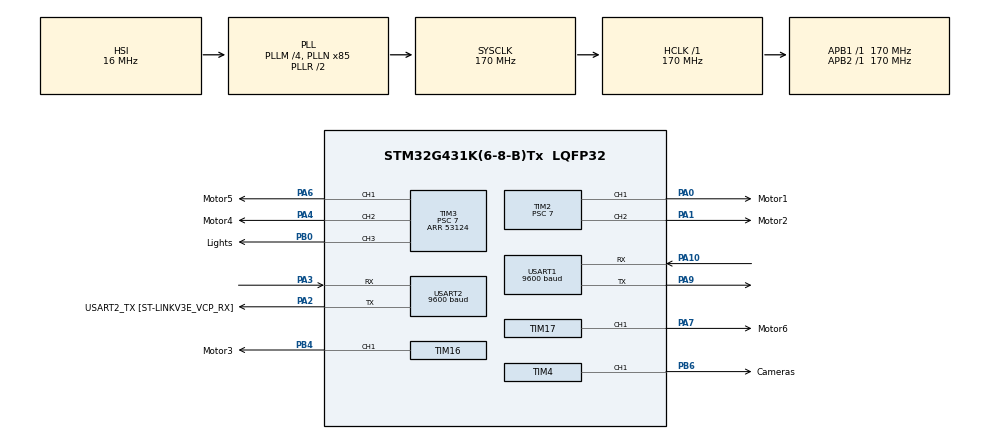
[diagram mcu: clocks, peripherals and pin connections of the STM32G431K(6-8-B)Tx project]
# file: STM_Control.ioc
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Mcu.Family=STM32G4
Mcu.Name=STM32G431K(6-8-B)Tx
Mcu.Package=LQFP32
NVIC.PriorityGroup=NVIC_PRIORITYGROUP_4
NVIC.USART1_IRQn=true\:0\:0\:false\:false\:true\:true\:true\:true
NVIC.USART2_IRQn=true\:0\:0\:false\:false\:true\:true\:true\:true
PA0.GPIO_Label=Motor1
PA0.Signal=S_TIM2_CH1
PA1.GPIO_Label=Motor2
PA1.Signal=S_TIM2_CH2
PA10.Mode=Asynchronous
PA10.Signal=USART1_RX
PA13.GPIO_Label=T_SWDIO
PA13.Mode=Serial_Wire
PA13.Signal=SYS_JTMS-SWDIO
PA14.GPIO_Label=T_SWCLK
PA14.Mode=Serial_Wire
PA14.Signal=SYS_JTCK-SWCLK
PA2.GPIO_Label=USART2_TX [ST-LINKV3E_VCP_RX]
PA2.Mode=Asynchronous
PA2.Signal=USART2_TX
PA3.Mode=Asynchronous
PA3.Signal=USART2_RX
PA4.GPIO_Label=Motor4
PA4.Signal=S_TIM3_CH2
PA6.GPIO_Label=Motor5
PA6.Signal=S_TIM3_CH1
PA7.GPIO_Label=Motor6
PA7.Signal=S_TIM17_CH1
PA9.Mode=Asynchronous
PA9.Signal=USART1_TX
PB0.GPIO_Label=Lights
PB0.Signal=S_TIM3_CH3
PB4.GPIO_Label=Motor3
PB4.Signal=S_TIM16_CH1
PB6.GPIO_Label=Cameras
PB6.Signal=S_TIM4_CH1
ProjectManager.HeapSize=0x200
ProjectManager.StackSize=0x400
ProjectManager.TargetToolchain=STM32CubeIDE
RCC.ADC12Freq_Value=170000000
RCC.AHBFreq_Value=170000000
RCC.APB1Freq_Value=170000000
RCC.APB1TimFreq_Value=170000000
RCC.APB2Freq_Value=170000000
RCC.APB2TimFreq_Value=170000000
RCC.CortexFreq_Value=170000000
RCC.EXTERNAL_CLOCK_VALUE=12288000
RCC.HCLKFreq_Value=170000000
RCC.HSE_VALUE=8000000
RCC.HSI48_VALUE=48000000
RCC.HSI_VALUE=16000000
RCC.LSE_VALUE=32768
RCC.PLLM=RCC_PLLM_DIV4
RCC.PLLN=85
RCC.SYSCLKFreq_VALUE=170000000
RCC.SYSCLKSource=RCC_SYSCLKSOURCE_PLLCLK
RCC.USBFreq_Value=170000000
RCC.VCOOutputFreq_Value=340000000
SH.S_TIM16_CH1.0=TIM16_CH1,PWM Generation1 CH1
SH.S_TIM17_CH1.0=TIM17_CH1,PWM Generation1 CH1
SH.S_TIM2_CH1.0=TIM2_CH1,PWM Generation1 CH1
SH.S_TIM2_CH2.0=TIM2_CH2,PWM Generation2 CH2
SH.S_TIM3_CH1.0=TIM3_CH1,PWM Generation1 CH1
SH.S_TIM3_CH2.0=TIM3_CH2,PWM Generation2 CH2
SH.S_TIM3_CH3.0=TIM3_CH3,PWM Generation3 CH3
SH.S_TIM4_CH1.0=TIM4_CH1,PWM Generation1 CH1
TIM16.AutoReloadPreload=TIM_AUTORELOAD_PRELOAD_ENABLE
TIM16.Channel=TIM_CHANNEL_1
TIM16.PeriodNoDither=53124
TIM16.Prescaler=7
TIM17.AutoReloadPreload=TIM_AUTORELOAD_PRELOAD_ENABLE
TIM17.Channel=TIM_CHANNEL_1
TIM17.PeriodNoDither=53124
TIM17.Prescaler=7
TIM2.AutoReloadPreload=TIM_AUTORELOAD_PRELOAD_ENABLE
TIM2.Channel-PWM\ Generation1\ CH1=TIM_CHANNEL_1
TIM2.Channel-PWM\ Generation2\ CH2=TIM_CHANNEL_2
TIM2.PeriodNoDither=800000
TIM2.Prescaler=7
TIM3.AutoReloadPreload=TIM_AUTORELOAD_PRELOAD_ENABLE
TIM3.Channel-PWM\ Generation1\ CH1=TIM_CHANNEL_1
TIM3.Channel-PWM\ Generation2\ CH2=TIM_CHANNEL_2
TIM3.Channel-PWM\ Generation3\ CH3=TIM_CHANNEL_3
TIM3.PeriodNoDither=53124
TIM3.Prescaler=7
TIM4.AutoReloadPreload=TIM_AUTORELOAD_PRELOAD_ENABLE
TIM4.Channel-PWM\ Generation1\ CH1=TIM_CHANNEL_1
TIM4.PeriodNoDither=56667
TIM4.Prescaler=4999
TIM6.AutoReloadPreload=TIM_AUTORELOAD_PRELOAD_DISABLE
TIM6.Prescaler=7782
TIM7.Prescaler=200
USART1.BaudRate=9600
USART1.VirtualMode-Asynchronous=VM_ASYNC
USART2.BaudRate=9600
USART2.VirtualMode-Asynchronous=VM_ASYNC
VP_SYS_VS_DBSignals.Mode=DisableDeadBatterySignals
VP_TIM16_VS_ClockSourceINT.Mode=Enable_Timer
VP_TIM17_VS_ClockSourceINT.Mode=Enable_Timer
VP_TIM2_VS_ClockSourceINT.Mode=Internal
VP_TIM3_VS_ClockSourceINT.Mode=Internal
VP_TIM4_VS_ClockSourceINT.Mode=Internal
VP_TIM6_VS_ClockSourceINT.Mode=Enable_Timer
VP_TIM7_VS_ClockSourceINT.Mode=Enable_Timer
board=NUCLEO-G431KB

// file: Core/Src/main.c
/* USER CODE BEGIN Header */
/*
 * Author: Albert Carrasco
 * Last review: 19/3/2024
 *
 * DESCRIPTION:
 * Code for STM32G431KB
 *
 */
/**
  ******************************************************************************
  * @file           : main.c
  * @brief          : Main program body
  ******************************************************************************
  * @attention
  *
  * Copyright (c) 2024 STMicroelectronics.
  * All rights reserved.
  *
  * This software is licensed under terms that can be found in the LICENSE file
  * in the root directory of this software component.
  * If no LICENSE file comes with this software, it is provided AS-IS.
  *
  ******************************************************************************
  */
/* USER CODE END Header */
#include "main.h"

/* USER CODE BEGIN Includes */
#include <string.h>
#include <stdio.h>
#include "uart_utils.h"
/* USER CODE END Includes */

TIM_HandleTypeDef htim2;
TIM_HandleTypeDef htim3;
TIM_HandleTypeDef htim4;
TIM_HandleTypeDef htim6;
TIM_HandleTypeDef htim7;
TIM_HandleTypeDef htim16;
TIM_HandleTypeDef htim17;

UART_HandleTypeDef huart1;
UART_HandleTypeDef huart2;

void SystemClock_Config(void);
static void MX_GPIO_Init(void);
static void MX_TIM2_Init(void);
static void MX_TIM3_Init(void);
static void MX_TIM17_Init(void);
static void MX_TIM4_Init(void);
static void MX_USART2_UART_Init(void);
static void MX_TIM6_Init(void);
static void MX_TIM16_Init(void);
static void MX_TIM7_Init(void);
static void MX_USART1_UART_Init(void);

/* USER CODE BEGIN 0 */

// Global variables for UART reception
uint8_t rx_buffer[256]; // Buffer to store incoming data (adjust size as needed)
uint16_t rx_index = 0;  // Current index in the buffer
uint8_t rx_data;        // Single byte for interrupt reception
volatile uint8_t rx_complete = 0; // Flag to indicate complete message

uint8_t state=0;				//State of the state machine

uint8_t i;
uint16_t currentPoint[6] = {31874,31874,31874,31874,31874,31874};		//current value of CCR for the thrusters
uint16_t currentLightPoint = 31874; //current value of CCR for the lights
uint8_t message[34];			//message received by USART. Longitud max==28
uint16_t value[7];
uint16_t setPoint[6];			//CCR value we want to achieve for the motors
uint16_t setLightPoint;			//CCR value we want to achieve for the lights

int16_t slope[6];				//step between each value for the motors
int16_t lightslope;

// Camera PWM calculation parameters
uint16_t camera_ccr;

int16_t maxSlope = 1050;		//max step between each value of CCR
int16_t minSlope = -1050;		//min step between each value of CCR

int16_t error;					//Sum of slopes of motors
int16_t errorlights;			//Sum of slopes of lights

//Lookup table of CCR values:
uint16_t CCRtable[] =
		{23374,23545,23603,23655,23702,23753,23803,23841,23878,23927,23977,24017,24057,24104,24154,24212,
		24269,24323,24366,24407,24444,24482,24525,24570,24635,24676,24711,24776,24841,24874,24907,24959,
		25009,25056,25096,25130,25170,25235,25299,25357,25409,25450,25490,25593,25624,25654,25691,25734,
		25801,25862,25902,25940,25977,26021,26103,26161,26200,26231,26261,26357,26390,26422,26462,26505,
		26554,26606,26671,26723,26771,26814,26857,26968,27020,27077,27137,27202,27260,27327,27391,27443,
		27500,27556,27608,27660,27713,27798,27856,27918,27982,28047,28112,28183,28258,28328,28394,28468,
		28534,28594,28652,28710,28786,28858,28938,29025,29104,29182,29247,29312,29384,29466,29553,29624,
		29698,29784,29878,29964,30038,30116,30209,30304,30399,30503,30624,30728,30847,30987,31120,31874,
		32621,32758,32917,33050,33148,33273,33367,33465,33554,33637,33728,33822,33906,33989,34082,34149,
		34215,34308,34390,34464,34542,34609,34660,34762,34836,34927,34996,35080,35145,35204,35277,35337,
		35391,35442,35533,35600,35666,35736,35809,35879,35934,35993,36056,36128,36183,36244,36307,36358,
		36414,36473,36528,36601,36664,36715,36770,36832,36898,36934,36971,37060,37134,37174,37209,37284,
		37346,37388,37424,37459,37495,37534,37574,37625,37672,37713,37788,37846,37876,37906,38002,38032,
		38062,38103,38158,38210,38262,38317,38359,38396,38438,38489,38551,38603,38636,38669,38744,38801,
		38850,38892,38933,38974,39016,39067,39117,39164,39205,39242,39281,39325,39366,39401,39435,39485,
		39539,39605,39644,39680,39736,39797,39847,39886,39919,39953,39992,40031,40102,40146,40181,40374};

int32_t CamCCRtable[] =
		{28333, 17000, 8500, 5667, 4250, 3400, 2833, 2429, 2125, 1889, 1700, 1545, 1417, 1308, 1214, 1133,
		1062, 1000, 944, 895, 850, 810, 773, 739, 708, 680, 654, 630, 607, 586, 567};

int32_t CamARRtable[] =
		{56666, 33999, 16999, 11333, 8499, 6799, 5666, 4857, 4249, 3777, 3399, 3090, 2833, 2615, 2428, 2266,
		2124, 1999, 1888, 1789, 1699, 1619, 1545, 1478, 1416, 1359, 1307, 1259, 1214, 1172, 1133};

uint16_t check;		//Calculated value of checksum

uint8_t length;				//length of the message read

//UART_HandleTypeDef huart1; // UART1 handler

// Initialize UART interrupt reception
void startUartReceive(UART_HandleTypeDef *huart) {
    // Start UART reception in interrupt mode for 1 byte
    HAL_UART_Receive_IT(huart, &rx_data, 1);
}
// Non-blocking function to read UART data
uint16_t readLine(UART_HandleTypeDef *huart, uint8_t *data, uint16_t max_len) {
    uint16_t count = 0;

    // Check if a complete message is ready
    if (rx_complete) {
        // Copy data from rx_buffer to user-provided data buffer
        for (count = 0; count < rx_index && count < max_len; count++) {
            data[count] = rx_buffer[count];
        }

        // Reset buffer and flags
        rx_index = 0;
        rx_complete = 0;

        // Restart UART reception
        HAL_UART_Receive_IT(huart, &rx_data, 1);
    }

    return count;
}

//uint16_t readLine(UART_HandleTypeDef *huart, uint8_t *data, uint16_t max_len, uint16_t timeout) {
//	uint16_t count = 0;
//	while (HAL_UART_Receive(huart, &data[count], 1, timeout) == HAL_OK && count < max_len) {
//		count++;
//		if (data[count+1] == 'e' && data[count+2]== 'e')
//			break;
//	}
//	return count;
//}

uint8_t light;
uint8_t camera;
uint16_t checksum;	//Value if checksum received in cameras' message

const uint8_t timeout = 2; //Timeout if PC crashes
//Timing for lights & cameras:
const float t1 = 0.5;
const float t2 = 1;
const float t3 = 1.5;

/* USER CODE END 0 */

int main(void)
{

  /* MCU Configuration--------------------------------------------------------*/

  /* Reset of all peripherals, Initializes the Flash interface and the Systick. */
  HAL_Init();

  /* Configure the system clock */
  SystemClock_Config();

  /* Initialize all configured peripherals */
  MX_GPIO_Init();
  MX_TIM2_Init();
  MX_TIM3_Init();
  MX_TIM17_Init();
  MX_TIM4_Init();
  MX_USART2_UART_Init();
  MX_TIM6_Init();
  MX_TIM16_Init();
  MX_TIM7_Init();
  MX_USART1_UART_Init();
  /* USER CODE BEGIN 2 */
  startUartReceive(&huart1);	// Initialising the uart receive interrupt callback
  //START PWM OUTPUTS:
  HAL_TIM_PWM_Start(&htim2, TIM_CHANNEL_1);		//Motor 1
  HAL_TIM_PWM_Start(&htim2, TIM_CHANNEL_2);		//Motor 2
  HAL_TIM_PWM_Start(&htim16, TIM_CHANNEL_1);		//Motor 3
  HAL_TIM_PWM_Start(&htim3, TIM_CHANNEL_2);		//Motor 4
  HAL_TIM_PWM_Start(&htim3, TIM_CHANNEL_1);  		//Motor 5
  HAL_TIM_PWM_Start(&htim17, TIM_CHANNEL_1);		//Motor 6

  HAL_TIM_PWM_Start(&htim3, TIM_CHANNEL_3);		//Lights
  HAL_TIM_PWM_Start(&htim4, TIM_CHANNEL_1);		//Camera

  //Send a PWM with Duty Cycle 1500 microseconds to start the T200 for at least 7 seconds:
  TIM2->CCR1 = 31874;	//Motor 1
  TIM2->CCR2 = 31874;	//Motor 2
  TIM16->CCR1 = 31874;	//Motor 3
  TIM3->CCR2 = 31874;	//Motor 4
  TIM3->CCR1 = 31874;  	//Motor 5
  TIM17->CCR1 = 31874;	//Motor 6
  HAL_Delay(7000);

  //Turn off lights:
  TIM3->CCR3 = 23374; 	//Lights initial pwm
  // Disable PWM output initially for the Camera
  TIM4->CCER &= ~TIM_CCER_CC1E;

  HAL_TIM_Base_Start(&htim6);	//Timer timeout start

  /* USER CODE END 2 */

  /* Infinite loop */
  while (1)
  {

    /* USER CODE BEGIN 3 */
	switch(state) {
		case 0:
			memset(message,0,34);		//Clean the array before writing on it
			//Receive message: check Id and length
			length=readLine(&huart1, message, sizeof(message));

			//Cameras & lights:
			if(length==16 && message[0]=='c' && message[1]=='c') {
				HAL_TIM_Base_Stop(&htim6);
				TIM6->CNT = 0;	//Reset timer

				camera = (message[3]-'0')*10 + (message[4]-'0');		//value for cameras
				light = (message[6]-'0')*100 + (message[7]-'0')*10 + (message[8]-'0');	//Value for lights
				checksum = (message[10]-'0')*100 + (message[11]-'0')*10 + (message[12]-'0');	//Checksum received
				state=1;
			}

			else if(length==34 && message[0]=='a' && message[1]=='a') {
				HAL_TIM_Base_Stop(&htim6);
				TIM6->CNT = 0;	//Reset timer

				value[0] = (message[3]-'0')*100 + (message[4]-'0')*10 + (message[5]-'0');			//Value for motor 1
				value[1] = (message[7]-'0')*100 + (message[8]-'0')*10 + (message[9]-'0');			//Value for motor 2
				value[2] = (message[11]-'0')*100 + (message[12]-'0')*10 + (message[13]-'0');		//Value for motor 3
				value[3] = (message[15]-'0')*100 + (message[16]-'0')*10 + (message[17]-'0');		//Value for motor 4
				value[4] = (message[19]-'0')*100 + (message[20]-'0')*10 + (message[21]-'0');		//Value for motor 5
				value[5] = (message[23]-'0')*100 + (message[24]-'0')*10 + (message[25]-'0');		//Value for motor 6
				value[6] = (message[27]-'0')*1000 + (message[28]-'0')*100 + (message[29]-'0')*10 + (message[30]-'0');		//Checksum received
				state=1;
	  		  }

	  		  else {
	  			  //Security protocol, if PC crashes stops thrusters (2 seconds of no data received):
	  			  if(__HAL_TIM_GET_COUNTER(&htim6) >= timeout*32768) {
	  				  TIM2->CCR1 = 31874;	//Motor 1
	  				  TIM2->CCR2 = 31874;	//Motor 2
	  				  TIM16->CCR1 = 31874;	//Motor 3
	  				  TIM3->CCR2 = 31874;	//Motor 4
	  				  TIM3->CCR1 = 31874;  	//Motor 5
	  				  TIM17->CCR1 = 31874;	//Motor 6

	  				  //Update value in CurrentPoint variable:
	  				  for(i=0;i<=5;i++) {
	  					  currentPoint[i]=31874;
	  				  }

	  				  HAL_TIM_Base_Stop(&htim6);
	  				  TIM6->CNT = 0;	//Reset timer
	  			  }
	  			  state=0;
	  		  }
		  break;

		  case 1:
			  //Check if values received are inside range:

			  if(message[0]=='a' && message[1]=='a') {
				  for(i=0;i<=5;i++) {
					  if(value[i]>255 || value[i]<0) {
	  				  	  state=0;
	  				  	  break;
	  				  }
	  				  else {
	  					  state=2;
	  				  }
				  }
			  }

			  else if(message[0]=='c' && message[1]=='c') {
				  for(i=0;i<=1;i++) {
					  if(light>255 || light<0) {
						  state=0;
						  break;
					  }
	  				  if (camera>30 || camera<0) {
	  					  state=0;
	  					  break;
	  				  }
	  				  else {
	  					  state=2;
	  				  }
				  }
			  }

		  break;

		  case 2:
			  //Check if checksum is inside range and calculate checksum to compare:

			  if(message[0]=='a' && message[1]=='a') {
				  if(value[6]>=0 && value[6]<=1530) {
					  check = value[0] + value[1] + value[2] + value[3] + value[4] + value[5];
					  if (check==value[6]) {
						  state = 3;
					  }
					  else {
						  state=0;
					  }
				  }
				  else {
					  state=0;
				  }
			  }

			  else if(message[0]=='c' && message[1]=='c') {
				  if(checksum>=0 && checksum<=285) {
					  check = light + camera;
					  if (check==checksum) {
						  state = 3;
						  HAL_TIM_Base_Start(&htim7);	//Start timer for lights & cameras timing [VERIFY IF THIS IS NECESSARY]
					  }
					  else {
						  state=0;
					  }
				  }
				  else {
					  state=0;
				  }
			  }
		  break;

		  case 3:
			  //Process to send PWM values

			  if(message[0]=='a' && message[1]=='a') {
				  //setPoint equals to the value in the LUT from position 0 to 255:
				  setPoint[0] = CCRtable[value[0]];
				  setPoint[1] = CCRtable[value[1]];
				  setPoint[2] = CCRtable[value[2]];
				  setPoint[3] = CCRtable[value[3]];
				  setPoint[4] = CCRtable[value[4]];
				  setPoint[5] = CCRtable[value[5]];

				  for(i=0;i<=5;i++) {
					  slope[i]=setPoint[i]-currentPoint[i];

					  //Limit the values of slope:
					  if(slope[i]>maxSlope) {
						  slope[i]=maxSlope;
					  }

					  else if (slope[i]<minSlope) {
						  slope[i]=minSlope;
					  }

					  //Values to send:
					  currentPoint[i]+=slope[i];
				  }

				  //Send values:
				  TIM2->CCR1 = currentPoint[0];		//Motor 1
				  TIM2->CCR2 = currentPoint[1];		//Motor 2
				  TIM16->CCR1 = currentPoint[2];	//Motor 3
				  TIM3->CCR2 = currentPoint[3];		//Motor 4
				  TIM3->CCR1 = currentPoint[4];  	//Motor 5
				  TIM17->CCR1 = currentPoint[5];	//Motor 6

//				  HAL_Delay(200);
				  error=0;	//Reset error

				  for(i=0;i<=5;i++) {
					  error=error+slope[i];
				  }
				  //When all setPoints are achieved return to initial state:
				  if(error==0) {
					  HAL_TIM_Base_Start(&htim6);
					  state=0;
				  }
				  else {
					  state=3;
				  }
			  }

			  if(message[0]=='c' && message[1]=='c') {
//				  if(message[0]=='c' && message[1]=='c') {
					  //setPoint equals to the value in the LUT from position 0 to 255:
					  setLightPoint = CCRtable[light];
					  lightslope = setLightPoint - currentLightPoint;
					  //Limit the values of the slope
					  if(lightslope>maxSlope) {
						  lightslope=maxSlope;
					  }
					  else if (slope[i]<minSlope) {
						  lightslope=minSlope;
					  }
					  //Values to send:
					  currentLightPoint = currentLightPoint + lightslope;

					  // Send light values
					  TIM3->CCR3 = currentLightPoint;
					  if(camera != 0) {
						  //Enable camera PWM channel and send the pwm value
						  TIM4->CCER |= TIM_CCER_CC1E;
						  TIM4->CCR1 = CamCCRtable[camera]; // Camera CCR value to send
						  TIM4->ARR = CamARRtable[camera]; // Camera CCR value to send
					  }
					  else {
						  // Disable the pwm so the camera doesn't take any pictures
						  TIM4->CCER &= ~TIM_CCER_CC1E;
					  }

//					  HAL_Delay(200);
					  error=0;	//Reset error

//					  error = error + lightslope;
					  //When all setPoints are achieved return to initial state:
					  if(error==0) {
						  HAL_TIM_Base_Start(&htim6);
						  state=0;
					  		}
					  else {
						  state=3;
					  }
			  }

		  break;
	}
  }
  /* USER CODE END 3 */
}

void SystemClock_Config(void)
{
  RCC_OscInitTypeDef RCC_OscInitStruct = {0};
  RCC_ClkInitTypeDef RCC_ClkInitStruct = {0};

  /** Configure the main internal regulator output voltage
  */
  HAL_PWREx_ControlVoltageScaling(PWR_REGULATOR_VOLTAGE_SCALE1_BOOST);

  /** Initializes the RCC Oscillators according to the specified parameters
  * in the RCC_OscInitTypeDef structure.
  */
  RCC_OscInitStruct.OscillatorType = RCC_OSCILLATORTYPE_HSI;
  RCC_OscInitStruct.HSIState = RCC_HSI_ON;
  RCC_OscInitStruct.HSICalibrationValue = RCC_HSICALIBRATION_DEFAULT;
  RCC_OscInitStruct.PLL.PLLState = RCC_PLL_ON;
  RCC_OscInitStruct.PLL.PLLSource = RCC_PLLSOURCE_HSI;
  RCC_OscInitStruct.PLL.PLLM = RCC_PLLM_DIV4;
  RCC_OscInitStruct.PLL.PLLN = 85;
  RCC_OscInitStruct.PLL.PLLP = RCC_PLLP_DIV2;
  RCC_OscInitStruct.PLL.PLLQ = RCC_PLLQ_DIV2;
  RCC_OscInitStruct.PLL.PLLR = RCC_PLLR_DIV2;
  if (HAL_RCC_OscConfig(&RCC_OscInitStruct) != HAL_OK)
  {
    Error_Handler();
  }

  /** Initializes the CPU, AHB and APB buses clocks
  */
  RCC_ClkInitStruct.ClockType = RCC_CLOCKTYPE_HCLK|RCC_CLOCKTYPE_SYSCLK
                              |RCC_CLOCKTYPE_PCLK1|RCC_CLOCKTYPE_PCLK2;
  RCC_ClkInitStruct.SYSCLKSource = RCC_SYSCLKSOURCE_PLLCLK;
  RCC_ClkInitStruct.AHBCLKDivider = RCC_SYSCLK_DIV1;
  RCC_ClkInitStruct.APB1CLKDivider = RCC_HCLK_DIV1;
  RCC_ClkInitStruct.APB2CLKDivider = RCC_HCLK_DIV1;

  if (HAL_RCC_ClockConfig(&RCC_ClkInitStruct, FLASH_LATENCY_4) != HAL_OK)
  {
    Error_Handler();
  }
}

static void MX_TIM2_Init(void)
{

  TIM_ClockConfigTypeDef sClockSourceConfig = {0};
  TIM_MasterConfigTypeDef sMasterConfig = {0};
  TIM_OC_InitTypeDef sConfigOC = {0};

  htim2.Instance = TIM2;
  htim2.Init.Prescaler = 7;
  htim2.Init.CounterMode = TIM_COUNTERMODE_UP;
  htim2.Init.Period = 800000;
  htim2.Init.ClockDivision = TIM_CLOCKDIVISION_DIV1;
  htim2.Init.AutoReloadPreload = TIM_AUTORELOAD_PRELOAD_ENABLE;
  if (HAL_TIM_Base_Init(&htim2) != HAL_OK)
  {
    Error_Handler();
  }
  sClockSourceConfig.ClockSource = TIM_CLOCKSOURCE_INTERNAL;
  if (HAL_TIM_ConfigClockSource(&htim2, &sClockSourceConfig) != HAL_OK)
  {
    Error_Handler();
  }
  if (HAL_TIM_PWM_Init(&htim2) != HAL_OK)
  {
    Error_Handler();
  }
  sMasterConfig.MasterOutputTrigger = TIM_TRGO_RESET;
  sMasterConfig.MasterSlaveMode = TIM_MASTERSLAVEMODE_DISABLE;
  if (HAL_TIMEx_MasterConfigSynchronization(&htim2, &sMasterConfig) != HAL_OK)
  {
    Error_Handler();
  }
  sConfigOC.OCMode = TIM_OCMODE_PWM1;
  sConfigOC.Pulse = 0;
  sConfigOC.OCPolarity = TIM_OCPOLARITY_HIGH;
  sConfigOC.OCFastMode = TIM_OCFAST_DISABLE;
  if (HAL_TIM_PWM_ConfigChannel(&htim2, &sConfigOC, TIM_CHANNEL_1) != HAL_OK)
  {
    Error_Handler();
  }
  if (HAL_TIM_PWM_ConfigChannel(&htim2, &sConfigOC, TIM_CHANNEL_2) != HAL_OK)
  {
    Error_Handler();
  }
  HAL_TIM_MspPostInit(&htim2);

}

static void MX_TIM3_Init(void)
{

  TIM_ClockConfigTypeDef sClockSourceConfig = {0};
  TIM_MasterConfigTypeDef sMasterConfig = {0};
  TIM_OC_InitTypeDef sConfigOC = {0};

  htim3.Instance = TIM3;
  htim3.Init.Prescaler = 7;
  htim3.Init.CounterMode = TIM_COUNTERMODE_UP;
  htim3.Init.Period = 53124;
  htim3.Init.ClockDivision = TIM_CLOCKDIVISION_DIV1;
  htim3.Init.AutoReloadPreload = TIM_AUTORELOAD_PRELOAD_ENABLE;
  if (HAL_TIM_Base_Init(&htim3) != HAL_OK)
  {
    Error_Handler();
  }
  sClockSourceConfig.ClockSource = TIM_CLOCKSOURCE_INTERNAL;
  if (HAL_TIM_ConfigClockSource(&htim3, &sClockSourceConfig) != HAL_OK)
  {
    Error_Handler();
  }
  if (HAL_TIM_PWM_Init(&htim3) != HAL_OK)
  {
    Error_Handler();
  }
  sMasterConfig.MasterOutputTrigger = TIM_TRGO_RESET;
  sMasterConfig.MasterSlaveMode = TIM_MASTERSLAVEMODE_DISABLE;
  if (HAL_TIMEx_MasterConfigSynchronization(&htim3, &sMasterConfig) != HAL_OK)
  {
    Error_Handler();
  }
  sConfigOC.OCMode = TIM_OCMODE_PWM1;
  sConfigOC.Pulse = 0;
  sConfigOC.OCPolarity = TIM_OCPOLARITY_HIGH;
  sConfigOC.OCFastMode = TIM_OCFAST_DISABLE;
  if (HAL_TIM_PWM_ConfigChannel(&htim3, &sConfigOC, TIM_CHANNEL_1) != HAL_OK)
  {
    Error_Handler();
  }
  if (HAL_TIM_PWM_ConfigChannel(&htim3, &sConfigOC, TIM_CHANNEL_2) != HAL_OK)
  {
    Error_Handler();
  }
  if (HAL_TIM_PWM_ConfigChannel(&htim3, &sConfigOC, TIM_CHANNEL_3) != HAL_OK)
  {
    Error_Handler();
  }
  HAL_TIM_MspPostInit(&htim3);

}

static void MX_TIM4_Init(void)
{

  TIM_ClockConfigTypeDef sClockSourceConfig = {0};
  TIM_MasterConfigTypeDef sMasterConfig = {0};
  TIM_OC_InitTypeDef sConfigOC = {0};

  htim4.Instance = TIM4;
  htim4.Init.Prescaler = 4999;
  htim4.Init.CounterMode = TIM_COUNTERMODE_UP;
  htim4.Init.Period = 56667;
  htim4.Init.ClockDivision = TIM_CLOCKDIVISION_DIV1;
  htim4.Init.AutoReloadPreload = TIM_AUTORELOAD_PRELOAD_ENABLE;
  if (HAL_TIM_Base_Init(&htim4) != HAL_OK)
  {
    Error_Handler();
  }
  sClockSourceConfig.ClockSource = TIM_CLOCKSOURCE_INTERNAL;
  if (HAL_TIM_ConfigClockSource(&htim4, &sClockSourceConfig) != HAL_OK)
  {
    Error_Handler();
  }
  if (HAL_TIM_PWM_Init(&htim4) != HAL_OK)
  {
    Error_Handler();
  }
  sMasterConfig.MasterOutputTrigger = TIM_TRGO_RESET;
  sMasterConfig.MasterSlaveMode = TIM_MASTERSLAVEMODE_DISABLE;
  if (HAL_TIMEx_MasterConfigSynchronization(&htim4, &sMasterConfig) != HAL_OK)
  {
    Error_Handler();
  }
  sConfigOC.OCMode = TIM_OCMODE_PWM1;
  sConfigOC.Pulse = 0;
  sConfigOC.OCPolarity = TIM_OCPOLARITY_HIGH;
  sConfigOC.OCFastMode = TIM_OCFAST_DISABLE;
  if (HAL_TIM_PWM_ConfigChannel(&htim4, &sConfigOC, TIM_CHANNEL_1) != HAL_OK)
  {
    Error_Handler();
  }
  HAL_TIM_MspPostInit(&htim4);

}

static void MX_TIM6_Init(void)
{

  TIM_MasterConfigTypeDef sMasterConfig = {0};

  htim6.Instance = TIM6;
  htim6.Init.Prescaler = 7782;
  htim6.Init.CounterMode = TIM_COUNTERMODE_UP;
  htim6.Init.Period = 65535;
  htim6.Init.AutoReloadPreload = TIM_AUTORELOAD_PRELOAD_DISABLE;
  if (HAL_TIM_Base_Init(&htim6) != HAL_OK)
  {
    Error_Handler();
  }
  sMasterConfig.MasterOutputTrigger = TIM_TRGO_RESET;
  sMasterConfig.MasterSlaveMode = TIM_MASTERSLAVEMODE_DISABLE;
  if (HAL_TIMEx_MasterConfigSynchronization(&htim6, &sMasterConfig) != HAL_OK)
  {
    Error_Handler();
  }

}

static void MX_TIM7_Init(void)
{

  TIM_MasterConfigTypeDef sMasterConfig = {0};

  htim7.Instance = TIM7;
  htim7.Init.Prescaler = 200;
  htim7.Init.CounterMode = TIM_COUNTERMODE_UP;
  htim7.Init.Period = 65535;
  htim7.Init.AutoReloadPreload = TIM_AUTORELOAD_PRELOAD_DISABLE;
  if (HAL_TIM_Base_Init(&htim7) != HAL_OK)
  {
    Error_Handler();
  }
  sMasterConfig.MasterOutputTrigger = TIM_TRGO_RESET;
  sMasterConfig.MasterSlaveMode = TIM_MASTERSLAVEMODE_DISABLE;
  if (HAL_TIMEx_MasterConfigSynchronization(&htim7, &sMasterConfig) != HAL_OK)
  {
    Error_Handler();
  }

}

static void MX_TIM16_Init(void)
{

  TIM_OC_InitTypeDef sConfigOC = {0};
  TIM_BreakDeadTimeConfigTypeDef sBreakDeadTimeConfig = {0};

  htim16.Instance = TIM16;
  htim16.Init.Prescaler = 7;
  htim16.Init.CounterMode = TIM_COUNTERMODE_UP;
  htim16.Init.Period = 53124;
  htim16.Init.ClockDivision = TIM_CLOCKDIVISION_DIV1;
  htim16.Init.RepetitionCounter = 0;
  htim16.Init.AutoReloadPreload = TIM_AUTORELOAD_PRELOAD_ENABLE;
  if (HAL_TIM_Base_Init(&htim16) != HAL_OK)
  {
    Error_Handler();
  }
  if (HAL_TIM_PWM_Init(&htim16) != HAL_OK)
  {
    Error_Handler();
  }
  sConfigOC.OCMode = TIM_OCMODE_PWM1;
  sConfigOC.Pulse = 0;
  sConfigOC.OCPolarity = TIM_OCPOLARITY_HIGH;
  sConfigOC.OCNPolarity = TIM_OCNPOLARITY_HIGH;
  sConfigOC.OCFastMode = TIM_OCFAST_DISABLE;
  sConfigOC.OCIdleState = TIM_OCIDLESTATE_RESET;
  sConfigOC.OCNIdleState = TIM_OCNIDLESTATE_RESET;
  if (HAL_TIM_PWM_ConfigChannel(&htim16, &sConfigOC, TIM_CHANNEL_1) != HAL_OK)
  {
    Error_Handler();
  }
  sBreakDeadTimeConfig.OffStateRunMode = TIM_OSSR_DISABLE;
  sBreakDeadTimeConfig.OffStateIDLEMode = TIM_OSSI_DISABLE;
  sBreakDeadTimeConfig.LockLevel = TIM_LOCKLEVEL_OFF;
  sBreakDeadTimeConfig.DeadTime = 0;
  sBreakDeadTimeConfig.BreakState = TIM_BREAK_DISABLE;
  sBreakDeadTimeConfig.BreakPolarity = TIM_BREAKPOLARITY_HIGH;
  sBreakDeadTimeConfig.BreakFilter = 0;
  sBreakDeadTimeConfig.AutomaticOutput = TIM_AUTOMATICOUTPUT_DISABLE;
  if (HAL_TIMEx_ConfigBreakDeadTime(&htim16, &sBreakDeadTimeConfig) != HAL_OK)
  {
    Error_Handler();
  }
  HAL_TIM_MspPostInit(&htim16);

}

static void MX_TIM17_Init(void)
{

  TIM_OC_InitTypeDef sConfigOC = {0};
  TIM_BreakDeadTimeConfigTypeDef sBreakDeadTimeConfig = {0};

  htim17.Instance = TIM17;
  htim17.Init.Prescaler = 7;
  htim17.Init.CounterMode = TIM_COUNTERMODE_UP;
  htim17.Init.Period = 53124;
  htim17.Init.ClockDivision = TIM_CLOCKDIVISION_DIV1;
  htim17.Init.RepetitionCounter = 0;
  htim17.Init.AutoReloadPreload = TIM_AUTORELOAD_PRELOAD_ENABLE;
  if (HAL_TIM_Base_Init(&htim17) != HAL_OK)
  {
    Error_Handler();
  }
  if (HAL_TIM_PWM_Init(&htim17) != HAL_OK)
  {
    Error_Handler();
  }
  sConfigOC.OCMode = TIM_OCMODE_PWM1;
  sConfigOC.Pulse = 0;
  sConfigOC.OCPolarity = TIM_OCPOLARITY_HIGH;
  sConfigOC.OCNPolarity = TIM_OCNPOLARITY_HIGH;
  sConfigOC.OCFastMode = TIM_OCFAST_DISABLE;
  sConfigOC.OCIdleState = TIM_OCIDLESTATE_RESET;
  sConfigOC.OCNIdleState = TIM_OCNIDLESTATE_RESET;
  if (HAL_TIM_PWM_ConfigChannel(&htim17, &sConfigOC, TIM_CHANNEL_1) != HAL_OK)
  {
    Error_Handler();
  }
  sBreakDeadTimeConfig.OffStateRunMode = TIM_OSSR_DISABLE;
  sBreakDeadTimeConfig.OffStateIDLEMode = TIM_OSSI_DISABLE;
  sBreakDeadTimeConfig.LockLevel = TIM_LOCKLEVEL_OFF;
  sBreakDeadTimeConfig.DeadTime = 0;
  sBreakDeadTimeConfig.BreakState = TIM_BREAK_DISABLE;
  sBreakDeadTimeConfig.BreakPolarity = TIM_BREAKPOLARITY_HIGH;
  sBreakDeadTimeConfig.BreakFilter = 0;
  sBreakDeadTimeConfig.AutomaticOutput = TIM_AUTOMATICOUTPUT_DISABLE;
  if (HAL_TIMEx_ConfigBreakDeadTime(&htim17, &sBreakDeadTimeConfig) != HAL_OK)
  {
    Error_Handler();
  }
  HAL_TIM_MspPostInit(&htim17);

}

static void MX_USART1_UART_Init(void)
{

  huart1.Instance = USART1;
  huart1.Init.BaudRate = 9600;
  huart1.Init.WordLength = UART_WORDLENGTH_8B;
  huart1.Init.StopBits = UART_STOPBITS_1;
  huart1.Init.Parity = UART_PARITY_NONE;
  huart1.Init.Mode = UART_MODE_TX_RX;
  huart1.Init.HwFlowCtl = UART_HWCONTROL_NONE;
  huart1.Init.OverSampling = UART_OVERSAMPLING_16;
  huart1.Init.OneBitSampling = UART_ONE_BIT_SAMPLE_DISABLE;
  huart1.Init.ClockPrescaler = UART_PRESCALER_DIV1;
  huart1.AdvancedInit.AdvFeatureInit = UART_ADVFEATURE_NO_INIT;
  if (HAL_UART_Init(&huart1) != HAL_OK)
  {
    Error_Handler();
  }
  if (HAL_UARTEx_SetTxFifoThreshold(&huart1, UART_TXFIFO_THRESHOLD_1_8) != HAL_OK)
  {
    Error_Handler();
  }
  if (HAL_UARTEx_SetRxFifoThreshold(&huart1, UART_RXFIFO_THRESHOLD_1_8) != HAL_OK)
  {
    Error_Handler();
  }
  if (HAL_UARTEx_DisableFifoMode(&huart1) != HAL_OK)
  {
    Error_Handler();
  }

}

static void MX_USART2_UART_Init(void)
{

  huart2.Instance = USART2;
  huart2.Init.BaudRate = 9600;
  huart2.Init.WordLength = UART_WORDLENGTH_8B;
  huart2.Init.StopBits = UART_STOPBITS_1;
  huart2.Init.Parity = UART_PARITY_NONE;
  huart2.Init.Mode = UART_MODE_TX_RX;
  huart2.Init.HwFlowCtl = UART_HWCONTROL_NONE;
  huart2.Init.OverSampling = UART_OVERSAMPLING_16;
  huart2.Init.OneBitSampling = UART_ONE_BIT_SAMPLE_DISABLE;
  huart2.Init.ClockPrescaler = UART_PRESCALER_DIV1;
  huart2.AdvancedInit.AdvFeatureInit = UART_ADVFEATURE_NO_INIT;
  if (HAL_UART_Init(&huart2) != HAL_OK)
  {
    Error_Handler();
  }
  if (HAL_UARTEx_SetTxFifoThreshold(&huart2, UART_TXFIFO_THRESHOLD_1_8) != HAL_OK)
  {
    Error_Handler();
  }
  if (HAL_UARTEx_SetRxFifoThreshold(&huart2, UART_RXFIFO_THRESHOLD_1_8) != HAL_OK)
  {
    Error_Handler();
  }
  if (HAL_UARTEx_DisableFifoMode(&huart2) != HAL_OK)
  {
    Error_Handler();
  }

}

static void MX_GPIO_Init(void)
{

  /* GPIO Ports Clock Enable */
  __HAL_RCC_GPIOA_CLK_ENABLE();
  __HAL_RCC_GPIOB_CLK_ENABLE();

}

void Error_Handler(void)
{
  __disable_irq();
  while (1)
  {
  }
}
